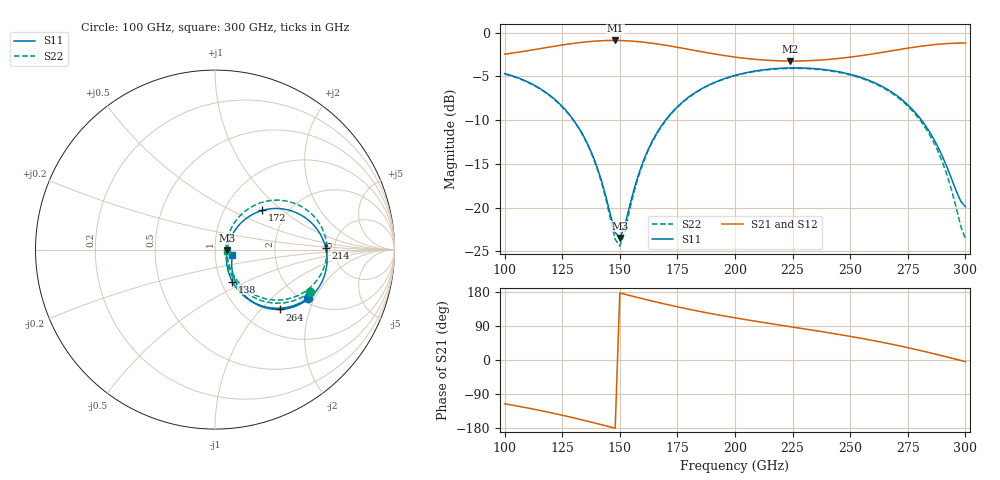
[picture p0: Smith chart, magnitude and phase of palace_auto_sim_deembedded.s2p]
! Created with skrf 1.11.0 (http://scikit-rf.org).
# GHz S DB R 50.0
!freq dBS11 angS11 dBS21 angS21 dBS12 angS12 dBS22 angS22
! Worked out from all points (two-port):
!   101 points, 100 GHz to 300 GHz, reference 50 ohm
!   highest |S21| = -0.90 dB at 148 GHz (marker M1); lowest = -3.2 dB at 224 GHz (marker M2)
!   |S21| within 3 dB of the highest: start of sweep to end of sweep
!   lowest |S11| = -23.5 dB at 150 GHz (marker M3), VSWR 1.14, Z = 57.2 - j0.401 ohm
!   |S11| at or under -10 dB: 130 GHz to 169.8 GHz (39.87 GHz wide, 26.6 % of centre); 280.9 GHz to end of sweep
!   |S22| runs from -24.4 to -4.1 dB; largest |S21 - S12| = 1e-13
!   S11 on the Smith chart (normalised r, x): 100 GHz: 2.15, -1.77; 138 GHz: 1.13, -0.42; 172 GHz: 1.50, +0.74; 214 GHz: 4.21, +0.15; 264 GHz: 1.46, -1.29; 300 GHz: 1.21, -0.07
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100  -4.67 -27.7  -2.46 -115.5  -2.46 -115.5  -4.72 -23.8
120  -7.24 -47.7  -1.63 -139.1  -1.63 -139.1  -7.29 -43.3
134  -11.68 -60.3  -1.10 -158.6  -1.10 -158.6  -11.76 -56.0
138  -13.87 -61.6  -1.00 -164.6  -1.00 -164.6  -13.99 -57.5
142  -16.87 -58.9  -0.93 -170.7  -0.93 -170.7  -17.06 -55.3
148  -22.84 -27.6  -0.90 -180.0  -0.90 -180.0  -23.61 -23.9
150  -23.46 -3.0  -0.90 176.9  -0.90 176.9  -24.40 3.5
160  -14.80 45.5  -1.08 161.6  -1.08 161.6  -14.97 54.0
168  -10.67 42.8  -1.37 150.0  -1.37 150.0  -10.76 50.9
172  -9.30 39.6  -1.54 144.4  -1.54 144.4  -9.37 47.6
184  -6.64 28.2  -2.11 129.1  -2.11 129.1  -6.69 36.3
200  -4.88 13.3  -2.79 111.3  -2.79 111.3  -4.93 21.5
214  -4.20 1.0  -3.16 97.4  -3.16 97.4  -4.25 9.4
224  -4.03 -7.5  -3.24 87.9  -3.24 87.9  -4.09 1.0
234  -4.10 -16.0  -3.18 78.4  -3.18 78.4  -4.16 -7.3
248  -4.63 -28.1  -2.86 64.4  -2.86 64.4  -4.71 -19.5
264  -6.16 -42.7  -2.25 46.5  -2.25 46.5  -6.26 -34.6
268  -6.79 -46.4  -2.08 41.6  -2.08 41.6  -6.90 -38.5
278  -9.05 -54.7  -1.66 28.4  -1.66 28.4  -9.24 -48.1
286  -12.02 -58.2  -1.39 17.0  -1.39 17.0  -12.40 -53.7
292  -15.36 -54.1  -1.26 8.0  -1.26 8.0  -16.25 -52.8
300  -19.88 -16.1  -1.20 -4.3  -1.20 -4.3  -23.54 -7.8
